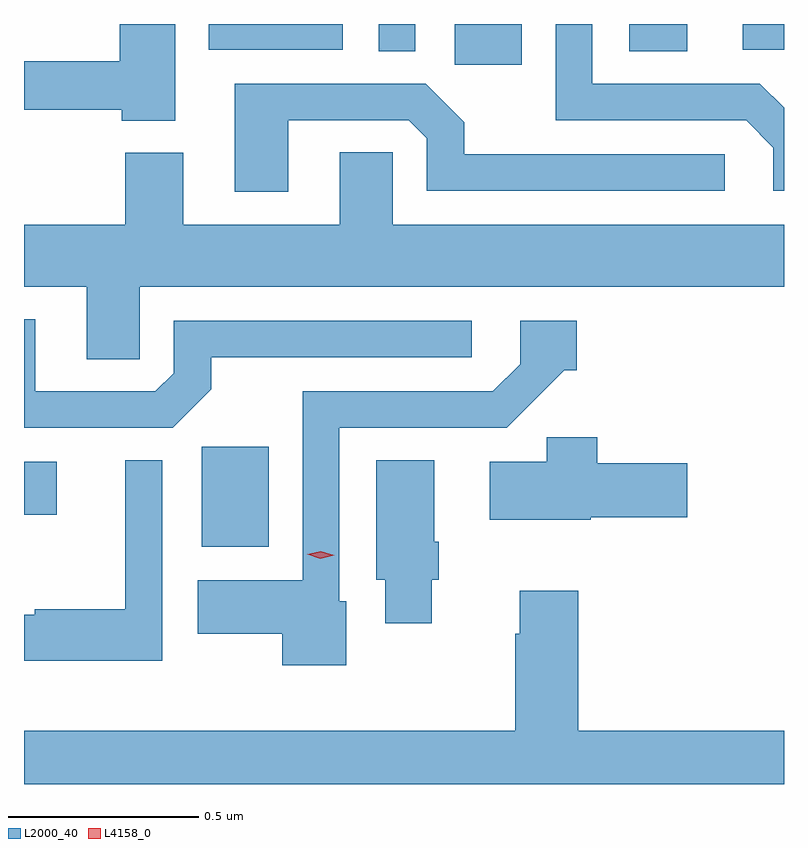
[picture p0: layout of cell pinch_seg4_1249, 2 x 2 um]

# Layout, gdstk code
import gdstk
lib = gdstk.Library(unit=1e-6, precision=1e-09)
def R(c, l, rs):  # rectangles x0, y0, x1, y1
    for r in rs: c.add(gdstk.rectangle(r[:2], r[2:], *l))
def P(c, l, *ps):  # polygons
    for p in ps: c.add(gdstk.Polygon(p, *l))
L2000_40 = (2000, 40)
L4158_0 = (4158, 0)

pinch_seg4_1249 = lib.new_cell('pinch_seg4_1249')
R(pinch_seg4_1249, L2000_40, [(314.75,808.124,314.926,808.388), (314.282,808.208,314.368,808.348), (315.416,809.393,315.592,809.5), (315.216,809.428,315.312,809.5), (315.875,809.428,316.027,809.5), (314.768,809.432,315.121,809.5), (316.173,809.432,316.282,809.5)])
P(pinch_seg4_1249, L2000_40, [(314.68,809.5),(314.534,809.5),(314.534,809.402),(314.282,809.402),(314.282,809.274),(314.539,809.274),(314.539,809.246),(314.68,809.246)],
  [(316.282,809.279),(316.218,809.343),(315.777,809.343),(315.777,809.5),(315.681,809.5),(315.681,809.247),(316.182,809.247),(316.254,809.175),(316.254,809.061),(316.282,809.061)],
  [(314.977,809.247),(315.294,809.247),(315.342,809.199),(315.342,809.061),(316.126,809.061),(316.126,809.157),(315.441,809.157),(315.441,809.241),(315.339,809.343),(314.837,809.343),(314.837,809.058),(314.977,809.058)],
  [(314.586,808.808),(316.282,808.808),(316.282,808.972),(315.252,808.972),(315.252,809.162),(315.113,809.162),(315.113,808.972),(314.701,808.972),(314.701,809.161),(314.549,809.161),(314.549,808.972),(314.282,808.972),(314.282,808.808),(314.447,808.808),(314.447,808.618),(314.586,808.618)],
  [(314.775,808.539),(314.775,808.623),(315.46,808.623),(315.46,808.719),(314.676,808.719),(314.676,808.581),(314.628,808.533),(314.311,808.533),(314.311,808.723),(314.282,808.723),(314.282,808.437),(314.673,808.437)],
  [(315.13,807.981),(315.111,807.981),(315.111,808.437),(315.552,808.437),(315.704,808.589),(315.736,808.589),(315.736,808.719),(315.588,808.719),(315.588,808.605),(315.516,808.533),(315.015,808.533),(315.015,808.036),(314.739,808.036),(314.739,807.896),(314.962,807.896),(314.962,807.812),(315.13,807.812)],
  [(315.774,808.202),(316.027,808.202),(316.027,808.344),(315.791,808.344),(315.791,808.413),(315.657,808.413),(315.657,808.348),(315.507,808.348),(315.507,808.196),(315.774,808.196)],
  [(314.646,808.352),(314.549,808.352),(314.549,807.96),(314.31,807.96),(314.31,807.946),(314.282,807.946),(314.282,807.824),(314.646,807.824)],
  [(315.355,808.038),(315.374,808.038),(315.374,808.138),(315.361,808.138),(315.361,808.352),(315.209,808.352),(315.209,808.038),(315.233,808.038),(315.233,807.923),(315.355,807.923)],
  [(316.282,807.64),(315.74,807.64),(315.74,808.009),(315.587,808.009),(315.587,807.896),(315.575,807.896),(315.575,807.64),(314.282,807.64),(314.282,807.5),(316.282,807.5)])
P(pinch_seg4_1249, L4158_0, [(315.062,808.093),(315.027,808.104),(315.026,808.105),(315.027,808.105),(315.063,808.113),(315.099,808.102),(315.099,808.102),(315.099,808.102)])

lib.write_gds('pinch_seg4_1249.gds')
